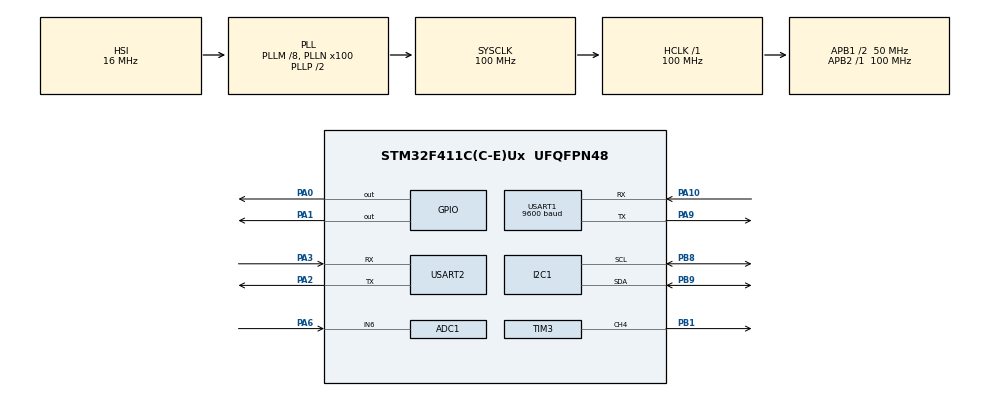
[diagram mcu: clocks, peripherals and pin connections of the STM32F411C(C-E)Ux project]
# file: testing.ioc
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ADC1.Channel-0\#ChannelRegularConversion=ADC_CHANNEL_6
ADC1.NbrOfConversionFlag=1
ADC1.Rank-0\#ChannelRegularConversion=1
ADC1.SamplingTime-0\#ChannelRegularConversion=ADC_SAMPLETIME_3CYCLES
ADC1.master=1
Dma.Request0=TIM3_CH4/UP
Dma.TIM3_CH4/UP.0.Direction=DMA_MEMORY_TO_PERIPH
Dma.TIM3_CH4/UP.0.FIFOMode=DMA_FIFOMODE_DISABLE
Dma.TIM3_CH4/UP.0.Instance=DMA1_Stream2
Dma.TIM3_CH4/UP.0.MemDataAlignment=DMA_MDATAALIGN_HALFWORD
Dma.TIM3_CH4/UP.0.MemInc=DMA_MINC_ENABLE
Dma.TIM3_CH4/UP.0.Mode=DMA_NORMAL
Dma.TIM3_CH4/UP.0.PeriphDataAlignment=DMA_PDATAALIGN_HALFWORD
Dma.TIM3_CH4/UP.0.PeriphInc=DMA_PINC_DISABLE
Dma.TIM3_CH4/UP.0.Priority=DMA_PRIORITY_LOW
Mcu.Family=STM32F4
Mcu.Name=STM32F411C(C-E)Ux
Mcu.Package=UFQFPN48
NVIC.DMA1_Stream2_IRQn=true\:0\:0\:false\:false\:true\:false\:true\:true
NVIC.PriorityGroup=NVIC_PRIORITYGROUP_4
PA0-WKUP.Signal=GPIO_Output
PA1.Signal=GPIO_Output
PA10.Mode=Asynchronous
PA10.Signal=USART1_RX
PA13.Mode=Trace_Asynchronous_SW
PA13.Signal=SYS_JTMS-SWDIO
PA14.Mode=Trace_Asynchronous_SW
PA14.Signal=SYS_JTCK-SWCLK
PA2.Mode=Asynchronous
PA2.Signal=USART2_TX
PA3.Mode=Asynchronous
PA3.Signal=USART2_RX
PA6.Signal=ADCx_IN6
PA9.Mode=Asynchronous
PA9.Signal=USART1_TX
PB1.GPIO_Speed=GPIO_SPEED_FREQ_HIGH
PB1.Signal=S_TIM3_CH4
PB3.Mode=Trace_Asynchronous_SW
PB3.Signal=SYS_JTDO-SWO
PB8.Mode=I2C
PB8.Signal=I2C1_SCL
PB9.Mode=I2C
PB9.Signal=I2C1_SDA
PC14-OSC32_IN.Mode=LSE-External-Oscillator
PC14-OSC32_IN.Signal=RCC_OSC32_IN
PC15-OSC32_OUT.Mode=LSE-External-Oscillator
PC15-OSC32_OUT.Signal=RCC_OSC32_OUT
PH0\ -\ OSC_IN.Mode=HSE-External-Oscillator
PH0\ -\ OSC_IN.Signal=RCC_OSC_IN
PH1\ -\ OSC_OUT.Mode=HSE-External-Oscillator
PH1\ -\ OSC_OUT.Signal=RCC_OSC_OUT
ProjectManager.HeapSize=0x200
ProjectManager.StackSize=0x400
ProjectManager.TargetToolchain=STM32CubeIDE
RCC.48MHZClocksFreq_Value=50000000
RCC.AHBFreq_Value=100000000
RCC.APB1CLKDivider=RCC_HCLK_DIV2
RCC.APB1Freq_Value=50000000
RCC.APB1TimFreq_Value=100000000
RCC.APB2Freq_Value=100000000
RCC.APB2TimFreq_Value=100000000
RCC.CortexFreq_Value=100000000
RCC.HCLKFreq_Value=100000000
RCC.HSE_VALUE=25000000
RCC.HSI_VALUE=16000000
RCC.PLLM=8
RCC.PLLN=100
RCC.SYSCLKFreq_VALUE=100000000
RCC.SYSCLKSource=RCC_SYSCLKSOURCE_PLLCLK
RCC.VCOOutputFreq_Value=200000000
SH.ADCx_IN6.0=ADC1_IN6,IN6
SH.S_TIM3_CH4.0=TIM3_CH4,PWM Generation4 CH4
TIM3.AutoReloadPreload=TIM_AUTORELOAD_PRELOAD_ENABLE
TIM3.Channel-PWM\ Generation4\ CH4=TIM_CHANNEL_4
TIM3.Period=62
USART1.BaudRate=9600
USART1.VirtualMode=VM_ASYNC
USART2.VirtualMode=VM_ASYNC
board=custom

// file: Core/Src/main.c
/* USER CODE BEGIN Header */
/**
  ******************************************************************************
  * @file           : main.c
  * @brief          : Main program body
  ******************************************************************************
  * @attention
  *
  * Copyright (c) 2026 STMicroelectronics.
  * All rights reserved.
  *
  * This software is licensed under terms that can be found in the LICENSE file
  * in the root directory of this software component.
  * If no LICENSE file comes with this software, it is provided AS-IS.
  *
  ******************************************************************************
  */
/* USER CODE END Header */
#include "main.h"

/* USER CODE BEGIN Includes */
#include "Drivers/WS2812/WS2812.h"
#include <stdio.h>
#include <string.h>
/* USER CODE END Includes */

ADC_HandleTypeDef hadc1;

I2C_HandleTypeDef hi2c1;

TIM_HandleTypeDef htim3;
DMA_HandleTypeDef hdma_tim3_ch4_up;

UART_HandleTypeDef huart1;
UART_HandleTypeDef huart2;

void SystemClock_Config(void);
static void MX_GPIO_Init(void);
static void MX_DMA_Init(void);
static void MX_ADC1_Init(void);
static void MX_I2C1_Init(void);
static void MX_USART1_UART_Init(void);
static void MX_USART2_UART_Init(void);
static void MX_TIM3_Init(void);

/* USER CODE BEGIN 0 */
#include <stdio.h>
#include <string.h>

// Map printf to UART2 (PC)
int _write(int file, char *ptr, int len)
{
    HAL_UART_Transmit(&huart2, (uint8_t*)ptr, len, HAL_MAX_DELAY);
    return len;
}

// Global variables to store your metrics for the rest of your project
char gps_time[15] = "000000";
char gps_lat[20]  = "0.0";
char gps_lon[20]  = "0.0";
char gps_alt[15]  = "0.0";
char gps_sats[5]  = "0";
char gps_fix[5]   = "0";
char gps_hdop[10] = "0.0";

// Function to safely extract data from NMEA sentences
void parse_nmea(char *sentence)
{
    // We parse the GGA sentence, which holds the 3D position, altitude, and fix data
    if (strncmp(sentence, "$GNGGA", 6) == 0 || strncmp(sentence, "$GPGGA", 6) == 0)
    {
        char *fields[20];
        int field_cnt = 0;
        fields[field_cnt++] = sentence;

        // Split sentence by commas manually. (strtok is bad here because it skips empty ",,")
        for (char *p = sentence; *p; p++)
        {
            if (*p == ',')
            {
                *p = '\0';
                fields[field_cnt++] = p + 1;
                if (field_cnt >= 20) break;
            }
        }

        // Ensure we got enough fields before reading them
        if (field_cnt > 9)
        {
            strcpy(gps_time, fields[1]);

            // Format Lat/Lon with N/S and E/W direction letters
            if (strlen(fields[2]) > 0) sprintf(gps_lat, "%s %s", fields[2], fields[3]);
            if (strlen(fields[4]) > 0) sprintf(gps_lon, "%s %s", fields[4], fields[5]);

            strcpy(gps_fix,  fields[6]);
            strcpy(gps_sats, fields[7]);
            strcpy(gps_hdop, fields[8]);
            strcpy(gps_alt,  fields[9]);

            if (gps_fix[0] == '0' || gps_fix[0] == '\0')
            {
                printf("\r[Searching...] Sats in view: %s | HDOP: %s       ", gps_sats, gps_hdop);
            }
            else
            {
                printf("\r\n=== 3D GPS LOCK ACQUIRED ===\r\n");
                printf("Time (UTC): %s\r\n", gps_time);
                printf("Latitude  : %s\r\n", gps_lat);
                printf("Longitude : %s\r\n", gps_lon);
                printf("Altitude  : %s meters\r\n", gps_alt);
                printf("Satellites: %s\r\n", gps_sats);
                printf("Accuracy  : %s (HDOP)\r\n", gps_hdop);
                printf("============================\r\n");
            }
        }
    }
}
/* USER CODE END 0 */

int main(void)
{

  /* MCU Configuration--------------------------------------------------------*/

  /* Reset of all peripherals, Initializes the Flash interface and the Systick. */
  HAL_Init();

  /* Configure the system clock */
  SystemClock_Config();

  /* Initialize all configured peripherals */
  MX_GPIO_Init();
  MX_DMA_Init();
  MX_ADC1_Init();
  MX_I2C1_Init();
  MX_USART1_UART_Init();
  MX_USART2_UART_Init();
  MX_TIM3_Init();
  /* USER CODE BEGIN 2 */
  char *msg2 = "\r\n--- STM32 Alive! UART2 (115200 baud) ---\r\n";
  HAL_UART_Transmit(&huart2, (uint8_t*)msg2, strlen(msg2), HAL_MAX_DELAY);
  /* USER CODE END 2 */

  /* Infinite loop */
  /* USER CODE BEGIN WHILE */
  char nmea_buf[120];
  int nmea_idx = 0;

  while (1)
  {
      uint8_t rx_byte;

      // Read 1 raw byte from UART1 (GPS) with a 0ms timeout (non-blocking)
      if (HAL_UART_Receive(&huart1, &rx_byte, 1, 0) == HAL_OK)
      {
          // Mask out the 8th bit. (Fixes weird character corruption)
          rx_byte &= 0x7F;

          if (rx_byte == '\n' || rx_byte == '\r')
          {
              if (nmea_idx > 0)
              {
                  nmea_buf[nmea_idx] = '\0'; // Null-terminate the string
                  parse_nmea(nmea_buf);      // Extract the data
                  nmea_idx = 0;              // Reset for the next sentence
              }
          }
          else if (nmea_idx < sizeof(nmea_buf) - 1)
          {
              nmea_buf[nmea_idx++] = rx_byte; // Add character to buffer
          }
      }

      // If an Overrun Error occurs (which can jam HAL), clear it
      if (__HAL_UART_GET_FLAG(&huart1, UART_FLAG_ORE))
      {
          __HAL_UART_CLEAR_OREFLAG(&huart1);
      }
    /* USER CODE END WHILE */

  }
}

void SystemClock_Config(void)
{
  RCC_OscInitTypeDef RCC_OscInitStruct = {0};
  RCC_ClkInitTypeDef RCC_ClkInitStruct = {0};

  /** Configure the main internal regulator output voltage
  */
  __HAL_RCC_PWR_CLK_ENABLE();
  __HAL_PWR_VOLTAGESCALING_CONFIG(PWR_REGULATOR_VOLTAGE_SCALE1);

  /** Initializes the RCC Oscillators according to the specified parameters
  * in the RCC_OscInitTypeDef structure.
  */
  RCC_OscInitStruct.OscillatorType = RCC_OSCILLATORTYPE_HSI;
  RCC_OscInitStruct.HSIState = RCC_HSI_ON;
  RCC_OscInitStruct.HSICalibrationValue = RCC_HSICALIBRATION_DEFAULT;
  RCC_OscInitStruct.PLL.PLLState = RCC_PLL_ON;
  RCC_OscInitStruct.PLL.PLLSource = RCC_PLLSOURCE_HSI;
  RCC_OscInitStruct.PLL.PLLM = 8;
  RCC_OscInitStruct.PLL.PLLN = 100;
  RCC_OscInitStruct.PLL.PLLP = RCC_PLLP_DIV2;
  RCC_OscInitStruct.PLL.PLLQ = 4;
  if (HAL_RCC_OscConfig(&RCC_OscInitStruct) != HAL_OK)
  {
    Error_Handler();
  }

  /** Initializes the CPU, AHB and APB buses clocks
  */
  RCC_ClkInitStruct.ClockType = RCC_CLOCKTYPE_HCLK|RCC_CLOCKTYPE_SYSCLK
                              |RCC_CLOCKTYPE_PCLK1|RCC_CLOCKTYPE_PCLK2;
  RCC_ClkInitStruct.SYSCLKSource = RCC_SYSCLKSOURCE_PLLCLK;
  RCC_ClkInitStruct.AHBCLKDivider = RCC_SYSCLK_DIV1;
  RCC_ClkInitStruct.APB1CLKDivider = RCC_HCLK_DIV2;
  RCC_ClkInitStruct.APB2CLKDivider = RCC_HCLK_DIV1;

  if (HAL_RCC_ClockConfig(&RCC_ClkInitStruct, FLASH_LATENCY_3) != HAL_OK)
  {
    Error_Handler();
  }
}

static void MX_ADC1_Init(void)
{

  ADC_ChannelConfTypeDef sConfig = {0};

  /** Configure the global features of the ADC (Clock, Resolution, Data Alignment and number of conversion)
  */
  hadc1.Instance = ADC1;
  hadc1.Init.ClockPrescaler = ADC_CLOCK_SYNC_PCLK_DIV4;
  hadc1.Init.Resolution = ADC_RESOLUTION_12B;
  hadc1.Init.ScanConvMode = DISABLE;
  hadc1.Init.ContinuousConvMode = DISABLE;
  hadc1.Init.DiscontinuousConvMode = DISABLE;
  hadc1.Init.ExternalTrigConvEdge = ADC_EXTERNALTRIGCONVEDGE_NONE;
  hadc1.Init.ExternalTrigConv = ADC_SOFTWARE_START;
  hadc1.Init.DataAlign = ADC_DATAALIGN_RIGHT;
  hadc1.Init.NbrOfConversion = 1;
  hadc1.Init.DMAContinuousRequests = DISABLE;
  hadc1.Init.EOCSelection = ADC_EOC_SINGLE_CONV;
  if (HAL_ADC_Init(&hadc1) != HAL_OK)
  {
    Error_Handler();
  }

  /** Configure for the selected ADC regular channel its corresponding rank in the sequencer and its sample time.
  */
  sConfig.Channel = ADC_CHANNEL_6;
  sConfig.Rank = 1;
  sConfig.SamplingTime = ADC_SAMPLETIME_3CYCLES;
  if (HAL_ADC_ConfigChannel(&hadc1, &sConfig) != HAL_OK)
  {
    Error_Handler();
  }

}

static void MX_I2C1_Init(void)
{

  hi2c1.Instance = I2C1;
  hi2c1.Init.ClockSpeed = 100000;
  hi2c1.Init.DutyCycle = I2C_DUTYCYCLE_2;
  hi2c1.Init.OwnAddress1 = 0;
  hi2c1.Init.AddressingMode = I2C_ADDRESSINGMODE_7BIT;
  hi2c1.Init.DualAddressMode = I2C_DUALADDRESS_DISABLE;
  hi2c1.Init.OwnAddress2 = 0;
  hi2c1.Init.GeneralCallMode = I2C_GENERALCALL_DISABLE;
  hi2c1.Init.NoStretchMode = I2C_NOSTRETCH_DISABLE;
  if (HAL_I2C_Init(&hi2c1) != HAL_OK)
  {
    Error_Handler();
  }

}

static void MX_TIM3_Init(void)
{

  TIM_MasterConfigTypeDef sMasterConfig = {0};
  TIM_OC_InitTypeDef sConfigOC = {0};

  htim3.Instance = TIM3;
  htim3.Init.Prescaler = 0;
  htim3.Init.CounterMode = TIM_COUNTERMODE_UP;
  htim3.Init.Period = 62;
  htim3.Init.ClockDivision = TIM_CLOCKDIVISION_DIV1;
  htim3.Init.AutoReloadPreload = TIM_AUTORELOAD_PRELOAD_ENABLE;
  if (HAL_TIM_PWM_Init(&htim3) != HAL_OK)
  {
    Error_Handler();
  }
  sMasterConfig.MasterOutputTrigger = TIM_TRGO_RESET;
  sMasterConfig.MasterSlaveMode = TIM_MASTERSLAVEMODE_DISABLE;
  if (HAL_TIMEx_MasterConfigSynchronization(&htim3, &sMasterConfig) != HAL_OK)
  {
    Error_Handler();
  }
  sConfigOC.OCMode = TIM_OCMODE_PWM1;
  sConfigOC.Pulse = 0;
  sConfigOC.OCPolarity = TIM_OCPOLARITY_HIGH;
  sConfigOC.OCFastMode = TIM_OCFAST_DISABLE;
  if (HAL_TIM_PWM_ConfigChannel(&htim3, &sConfigOC, TIM_CHANNEL_4) != HAL_OK)
  {
    Error_Handler();
  }
  HAL_TIM_MspPostInit(&htim3);

}

static void MX_USART1_UART_Init(void)
{

  huart1.Instance = USART1;
  huart1.Init.BaudRate = 9600;
  huart1.Init.WordLength = UART_WORDLENGTH_8B;
  huart1.Init.StopBits = UART_STOPBITS_1;
  huart1.Init.Parity = UART_PARITY_NONE;
  huart1.Init.Mode = UART_MODE_TX_RX;
  huart1.Init.HwFlowCtl = UART_HWCONTROL_NONE;
  huart1.Init.OverSampling = UART_OVERSAMPLING_16;
  if (HAL_UART_Init(&huart1) != HAL_OK)
  {
    Error_Handler();
  }

}

static void MX_USART2_UART_Init(void)
{

  huart2.Instance = USART2;
  huart2.Init.BaudRate = 115200;
  huart2.Init.WordLength = UART_WORDLENGTH_8B;
  huart2.Init.StopBits = UART_STOPBITS_1;
  huart2.Init.Parity = UART_PARITY_NONE;
  huart2.Init.Mode = UART_MODE_TX_RX;
  huart2.Init.HwFlowCtl = UART_HWCONTROL_NONE;
  huart2.Init.OverSampling = UART_OVERSAMPLING_16;
  if (HAL_UART_Init(&huart2) != HAL_OK)
  {
    Error_Handler();
  }

}

static void MX_DMA_Init(void)
{

  /* DMA controller clock enable */
  __HAL_RCC_DMA1_CLK_ENABLE();

  /* DMA interrupt init */
  /* DMA1_Stream2_IRQn interrupt configuration */
  HAL_NVIC_SetPriority(DMA1_Stream2_IRQn, 0, 0);
  HAL_NVIC_EnableIRQ(DMA1_Stream2_IRQn);

}

static void MX_GPIO_Init(void)
{
  GPIO_InitTypeDef GPIO_InitStruct = {0};

  /* GPIO Ports Clock Enable */
  __HAL_RCC_GPIOC_CLK_ENABLE();
  __HAL_RCC_GPIOH_CLK_ENABLE();
  __HAL_RCC_GPIOA_CLK_ENABLE();
  __HAL_RCC_GPIOB_CLK_ENABLE();

  /*Configure GPIO pin Output Level */
  HAL_GPIO_WritePin(GPIOA, GPIO_PIN_0|GPIO_PIN_1, GPIO_PIN_RESET);

  /*Configure GPIO pins : PA0 PA1 */
  GPIO_InitStruct.Pin = GPIO_PIN_0|GPIO_PIN_1;
  GPIO_InitStruct.Mode = GPIO_MODE_OUTPUT_PP;
  GPIO_InitStruct.Pull = GPIO_NOPULL;
  GPIO_InitStruct.Speed = GPIO_SPEED_FREQ_LOW;
  HAL_GPIO_Init(GPIOA, &GPIO_InitStruct);

}

void Error_Handler(void)
{
  __disable_irq();
  while (1)
  {
  }
}
